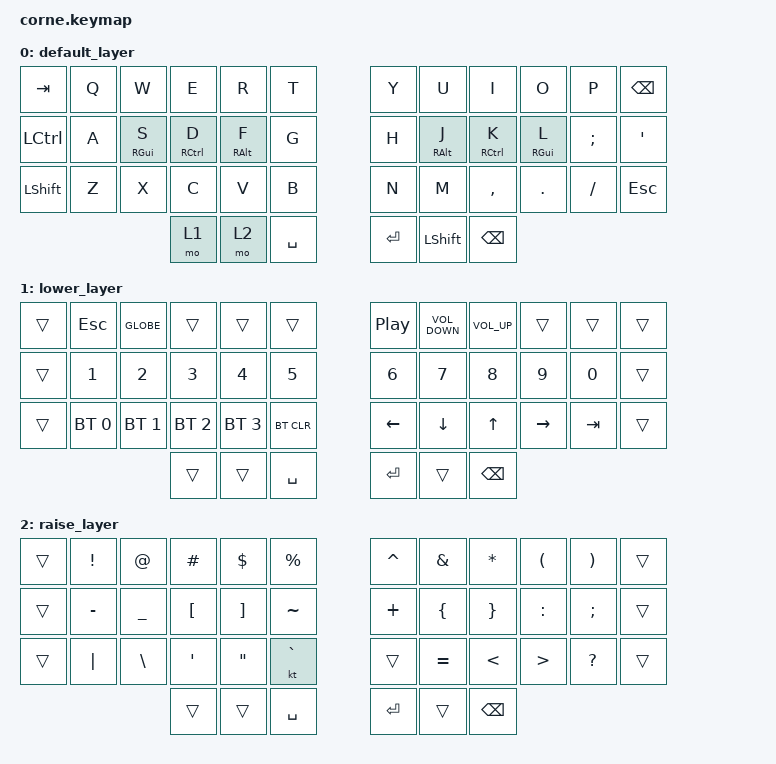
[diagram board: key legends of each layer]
/*
 * Copyright (c) 2020 The ZMK Contributors
 *
 * SPDX-License-Identifier: MIT
 */

#include <behaviors.dtsi>
#include <dt-bindings/zmk/bt.h>
#include <dt-bindings/zmk/keys.h>
#include <dt-bindings/zmk/keys.h>

/ {
    behaviors {
        balanced_hold_tap: balanced_hold_tap {
            compatible = "zmk,behavior-hold-tap";
            label = "BALANCED_HOLD_TAP";
            bindings = <&kp>, <&kp>;

            #binding-cells = <2>;
            tapping-term-ms = <200>;
            flavor = "balanced";
        };
    };

    combos {
        compatible = "zmk,combos";

        demon_mode_browser {
            bindings = <&kp RA(G)>;
            key-positions = <38 39>;
        };

        sex {
            bindings = <&sex>;
            key-positions = <37 40>;
        };
    };

    macros {
        sex: sex {
            compatible = "zmk,behavior-macro";
            #binding-cells = <0>;
            bindings = <&kp SPACE &kp G &kp G &kp SLASH>;
            label = "SEX";
        };
    };

    keymap {
        compatible = "zmk,keymap";

        default_layer {
            // -----------------------------------------------------------------------------------------
            // |  TAB |  Q  |  W  |  E  |  R  |  T  |   |  Y  |  U   |  I  |  O  |  P  | BKSP |
            // | CTRL |  A  |  S  |  D  |  F  |  G  |   |  H  |  J   |  K  |  L  |  ;  |  '   |
            // | SHFT |  Z  |  X  |  C  |  V  |  B  |   |  N  |  M   |  ,  |  .  |  /  | ESC  |
            //                    | GUI | LWR | SPC |   | ENT | RSE  | ALT |

            bindings = <
&kp TAB    &kp Q  &kp W                           &kp E                       &kp R                           &kp T        &kp Y    &kp U                           &kp I                       &kp O                           &kp P     &kp BSPC
&kp LCTRL  &kp A  &balanced_hold_tap RIGHT_GUI S  &balanced_hold_tap RCTRL D  &balanced_hold_tap RIGHT_ALT F  &kp G        &kp H    &balanced_hold_tap RIGHT_ALT J  &balanced_hold_tap RCTRL K  &balanced_hold_tap RIGHT_GUI L  &kp SEMI  &kp SQT
&kp LSHFT  &kp Z  &kp X                           &kp C                       &kp V                           &kp B        &kp N    &kp M                           &kp COMMA                   &kp DOT                         &kp FSLH  &kp ESC
                                                  &mo 1                       &mo 2                           &kp SPACE    &kp RET  &kp LEFT_SHIFT                  &kp BACKSPACE
            >;
        };

        lower_layer {
            // -----------------------------------------------------------------------------------------
            // |  TAB |  1  |  2  |  3  |  4  |  5  |   |  6  |  7  |  8  |  9  |  0  | BKSP |
            // | BTCLR| BT1 | BT2 | BT3 | BT4 | BT5 |   | LFT | DWN |  UP | RGT |     |      |
            // | SHFT |     |     |     |     |     |   |     |     |     |     |     |      |
            //                    | GUI |     | SPC |   | ENT |     | ALT |

            bindings = <
&trans  &kp ESC       &kp GLOBE     &trans        &trans        &trans          &kp C_PLAY_PAUSE  &kp C_VOLUME_DOWN  &kp C_VOLUME_UP  &trans        &trans        &trans
&trans  &kp NUMBER_1  &kp NUMBER_2  &kp NUMBER_3  &kp NUMBER_4  &kp NUMBER_5    &kp NUMBER_6      &kp NUMBER_7       &kp NUMBER_8     &kp NUMBER_9  &kp NUMBER_0  &trans
&trans  &bt BT_SEL 0  &bt BT_SEL 1  &bt BT_SEL 2  &bt BT_SEL 3  &bt BT_CLR      &kp LEFT          &kp DOWN           &kp UP           &kp RIGHT     &kp TAB       &trans
                                    &trans        &trans        &kp SPACE       &kp RET           &trans             &kp BACKSPACE
            >;
        };

        raise_layer {
            // -----------------------------------------------------------------------------------------
            // |  TAB |  !  |  @  |  #  |  $  |  %  |   |  ^  |  &  |  *  |  (  |  )  | BKSP |
            // | CTRL |     |     |     |     |     |   |  -  |  =  |  [  |  ]  |  \  |  `   |
            // | SHFT |     |     |     |     |     |   |  _  |  +  |  {  |  }  | "|" |  ~   |
            //                    | GUI |     | SPC |   | ENT |     | ALT |

            bindings = <
&trans  &kp EXCL   &kp AT         &kp HASH          &kp DLLR           &kp PRCNT    &kp CARET  &kp AMPS        &kp ASTERISK     &kp LPAR          &kp RPAR       &trans
&trans  &kp MINUS  &kp UNDER      &kp LEFT_BRACKET  &kp RIGHT_BRACKET  &kp TILDE    &kp PLUS   &kp LEFT_BRACE  &kp RIGHT_BRACE  &kp COLON         &kp SEMICOLON  &trans
&trans  &kp PIPE   &kp BACKSLASH  &kp SQT           &kp DOUBLE_QUOTES  &kt GRAVE    &trans     &kp EQUAL       &kp LESS_THAN    &kp GREATER_THAN  &kp QUESTION   &trans
                                  &trans            &trans             &kp SPACE    &kp RET    &trans          &kp BACKSPACE
            >;
        };
    };
};
